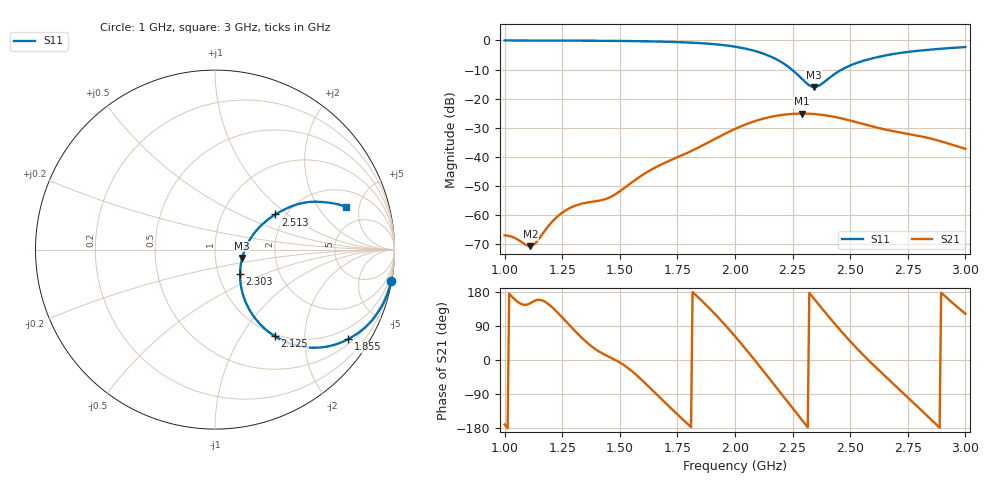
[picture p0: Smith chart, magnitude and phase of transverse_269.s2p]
! TOUCHSTONE file generated by CST MICROWAVE STUDIO
! Date and time: Tue Mar 11 13:58:19 2025
! Project name: transverse.cst
! Parameters = {Fracture=1; B=12.5; D=160; F=15; Feed=2.85625; L=100; M=20; R=0.384908; S=1; Theta=270; length=57.125; wave=114.25}
! Header version: 2024
! Port assignment regex: !\s*Touchstone port\s*([0-9]+)\s*=\s*(CST MWS port|CST DES external port|CST DES block port)\s*(.+)\s* \(\"(.*)\"\)(\s*mode\s*([0-9]+))?.*
! Touchstone port assignment:
! Touchstone port 1 = CST MWS port 1 ("")
! Touchstone port 2 = CST MWS port 2 ("")
# GHz S MA R 50
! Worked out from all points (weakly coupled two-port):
!   305 points, 1 GHz to 3 GHz, reference 50 ohm
!   highest |S21| = -25.14 dB at 2.289 GHz (marker M1); lowest = -70.7 dB at 1.112 GHz (marker M2)
!   lowest |S11| = -16.0 dB at 2.342 GHz (marker M3), VSWR 1.38, Z = 67.5 - j6.37 ohm
!   |S11| at or under -10 dB: 2.246 GHz to 2.464 GHz (217.6 MHz wide, 9.24 % of centre)
!   S12 and S22 are empty: the file has one direction only
!   S11 on the Smith chart (normalised r, x): 1 GHz: 0, -11; 1.855 GHz: 0.64, -3.16; 2.125 GHz: 0.97, -1.43; 2.303 GHz: 1.27, -0.36; 2.513 GHz: 1.77, +0.82; 3 GHz: 3.20, +3.69
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1  0.9976 -10.1  0.0004473 -170.1  0 0.0  0 0.0
1.11184  0.996 -11.7  0.0002918 149.9  0 0.0  0 0.0
1.13816  0.9956 -12.1  0.0003428 158.0  0 0.0  0 0.0
1.19737  0.9943 -13.1  0.0007003 144.0  0 0.0  0 0.0
1.23684  0.993 -13.8  0.0009981 120.9  0 0.0  0 0.0
1.33553  0.9893 -15.7  0.00157 58.4  0 0.0  0 0.0
1.46053  0.9819 -18.6  0.002049 6.3  0 0.0  0 0.0
1.67105  0.9553 -25.1  0.007095 -97.4  0 0.0  0 0.0
1.85526  0.8937 -34.0  0.01542 156.6  0 0.0  0 0.0
2  0.7798 -44.5  0.03015 62.6  0 0.0  0 0.0
2.125  0.5881 -55.3  0.04546 -30.4  0 0.0  0 0.0
2.21053  0.4018 -60.2  0.05288 -96.5  0 0.0  0 0.0
2.28947  0.2199 -50.2  0.05534 -157.5  0 0.0  0 0.0
2.30263  0.1959 -44.5  0.05529 -167.6  0 0.0  0 0.0
2.33553  0.16 -22.3  0.05458 167.3  0 0.0  0 0.0
2.34211  0.1583 -16.9  0.05434 162.4  0 0.0  0 0.0
2.36842  0.1704 3.1  0.0531 142.6  0 0.0  0 0.0
2.42105  0.2461 23.9  0.0494 104.1  0 0.0  0 0.0
2.51316  0.3891 30.2  0.04071 40.8  0 0.0  0 0.0
2.67105  0.5687 27.5  0.02841 -53.5  0 0.0  0 0.0
2.84211  0.6908 22.2  0.02094 -152.1  0 0.0  0 0.0
3  0.7686 17.9  0.01372 122.1  0 0.0  0 0.0
